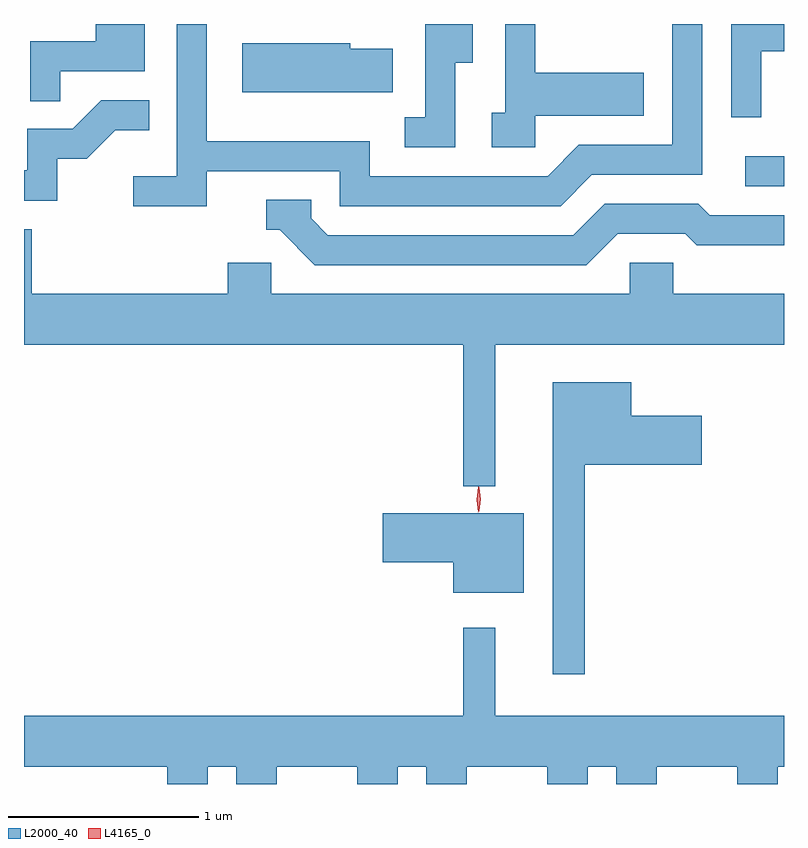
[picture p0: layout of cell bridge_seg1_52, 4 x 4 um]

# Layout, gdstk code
import gdstk
lib = gdstk.Library(unit=1e-6, precision=1e-09)
def R(c, l, rs):  # rectangles x0, y0, x1, y1
    for r in rs: c.add(gdstk.rectangle(r[:2], r[2:], *l))
def P(c, l, *ps):  # polygons
    for p in ps: c.add(gdstk.Polygon(p, *l))
L2000_40 = (2000, 40)
L4165_0 = (4165, 0)

bridge_seg1_52 = lib.new_cell('bridge_seg1_52')
R(bridge_seg1_52, L2000_40, [(1700.903,844.911,1701.108,845.069)])
P(bridge_seg1_52, L2000_40, [(1699.379,845.561),(1699.469,845.561),(1699.469,845.765),(1699.221,845.765),(1699.221,845.274),(1699.113,845.274),(1699.113,845.116),(1699.379,845.116)],
  [(1700.989,845.621),(1701.108,845.621),(1701.108,845.765),(1700.831,845.765),(1700.831,845.273),(1700.989,845.273)],
  [(1699.799,845.281),(1700.369,845.281),(1700.369,845.509),(1699.799,845.509),(1699.799,845.765),(1699.641,845.765),(1699.641,845.299),(1699.571,845.299),(1699.571,845.116),(1699.799,845.116)],
  [(1697.299,845.516),(1697.744,845.516),(1697.744,845.765),(1697.486,845.765),(1697.486,845.674),(1697.141,845.674),(1697.141,845.358),(1697.299,845.358)],
  [(1698.069,844.991),(1698.771,844.991),(1698.771,844.806),(1699.932,844.806),(1700.097,844.971),(1700.679,844.971),(1700.679,845.765),(1700.521,845.765),(1700.521,845.129),(1700.029,845.129),(1699.864,844.964),(1698.929,844.964),(1698.929,845.149),(1698.069,845.149),(1698.069,845.765),(1697.911,845.765),(1697.911,844.964),(1697.683,844.964),(1697.683,844.806),(1698.069,844.806)],
  [(1699.049,845.634),(1698.824,845.634),(1698.824,845.664),(1698.256,845.664),(1698.256,845.406),(1699.049,845.406)],
  [(1697.284,845.056),(1697.437,845.056),(1697.587,845.206),(1697.768,845.206),(1697.768,845.364),(1697.514,845.364),(1697.364,845.214),(1697.126,845.214),(1697.126,844.994),(1697.108,844.994),(1697.108,844.836),(1697.284,844.836)],
  [(1700.232,844.661),(1700.589,844.661),(1700.649,844.601),(1701.108,844.601),(1701.108,844.759),(1700.717,844.759),(1700.657,844.819),(1700.164,844.819),(1699.999,844.654),(1698.707,844.654),(1698.619,844.742),(1698.619,844.839),(1698.383,844.839),(1698.383,844.681),(1698.454,844.681),(1698.639,844.496),(1700.067,844.496)],
  [(1699.589,844.076),(1701.108,844.076),(1701.108,844.344),(1700.524,844.344),(1700.524,844.509),(1700.296,844.509),(1700.296,844.344),(1698.409,844.344),(1698.409,844.509),(1698.181,844.509),(1698.181,844.344),(1697.149,844.344),(1697.149,844.684),(1697.108,844.684),(1697.108,844.076),(1699.421,844.076),(1699.421,843.333),(1699.589,843.333)],
  [(1700.059,843.446),(1700.674,843.446),(1700.674,843.704),(1700.304,843.704),(1700.304,843.879),(1699.891,843.879),(1699.891,842.343),(1700.059,842.343)],
  [(1699.739,843.189),(1698.996,843.189),(1698.996,842.931),(1699.366,842.931),(1699.366,842.771),(1699.739,842.771)],
  [(1698.074,841.856),(1698.226,841.856),(1698.226,841.765),(1698.439,841.765),(1698.439,841.856),(1698.861,841.856),(1698.861,841.765),(1699.074,841.765),(1699.074,841.856),(1699.226,841.856),(1699.226,841.765),(1699.439,841.765),(1699.439,841.856),(1699.861,841.856),(1699.861,841.765),(1700.074,841.765),(1700.074,841.856),(1700.226,841.856),(1700.226,841.765),(1700.439,841.765),(1700.439,841.856),(1700.861,841.856),(1700.861,841.765),(1701.074,841.765),(1701.074,841.856),(1701.108,841.856),(1701.108,842.124),(1699.589,842.124),(1699.589,842.588),(1699.421,842.588),(1699.421,842.124),(1697.108,842.124),(1697.108,841.856),(1697.861,841.856),(1697.861,841.765),(1698.074,841.765)])
P(bridge_seg1_52, L4165_0, [(1699.502,843.2),(1699.493,843.263),(1699.502,843.326),(1699.503,843.327),(1699.503,843.326),(1699.513,843.263),(1699.503,843.2),(1699.503,843.2)],
  [(1699.499,843.194),(1699.499,843.194),(1699.49,843.262),(1699.5,843.33),(1699.501,843.33),(1699.502,843.33),(1699.51,843.262),(1699.5,843.194)])

lib.write_gds('bridge_seg1_52.gds')
